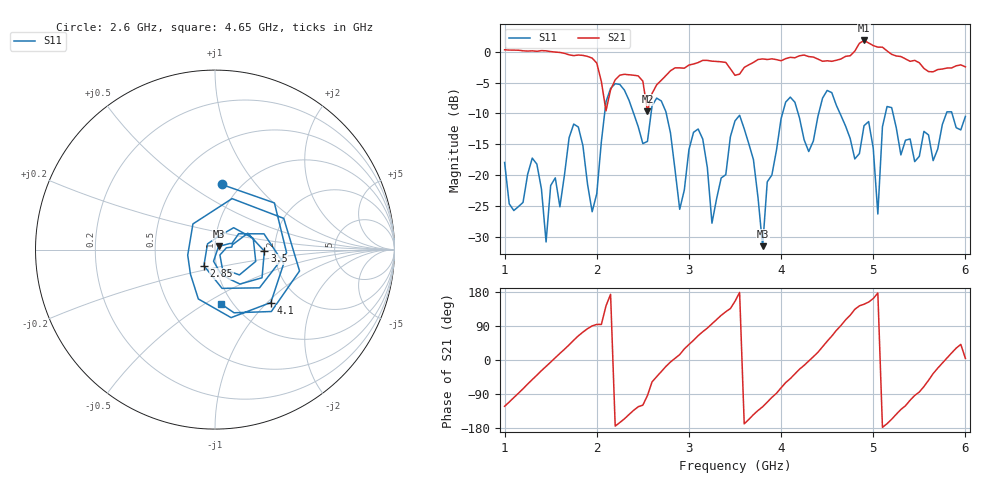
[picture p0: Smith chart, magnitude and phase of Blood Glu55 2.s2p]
! NanoVNA-App
! Date: 2024-03-20 20:21:56
! Start: 1GHz Stop: 6GHz Points: 101
! S-Parameter data: F S11 S21 S12 S22
# Hz S RI R 50
!	Frequency	S11_Real	S11_Imag	S21_Real	S21_Imag	S12_Real	S12_Imag	S22_Real	S22_Imag
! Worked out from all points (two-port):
!   101 points, 1 GHz to 6 GHz, reference 50 ohm
!   highest |S21| = 1.85 dB at 4.9 GHz (marker M1); lowest = -9.6 dB at 2.55 GHz (marker M2)
!   |S21| within 3 dB of the highest: start of sweep to 1.958 GHz; 4.651 GHz to 5.351 GHz (700.2 MHz wide, 14 % of centre)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
!   lowest |S11| = -31.6 dB at 3.8 GHz (marker M3), VSWR 1.05, Z = 52 + j1.82 ohm
!   |S11| at or under -10 dB: start of sweep to 2.085 GHz; 2.754 GHz to 4.016 GHz (1.262 GHz wide, 37.3 % of centre); 5.214 GHz to 5.794 GHz (579.4 MHz wide, 10.5 % of centre)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
!   S12 and S22 are empty: the file has one direction only
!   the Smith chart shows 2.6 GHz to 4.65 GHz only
!   S11 on the Smith chart (normalised r, x): 2.6 GHz: 0.82, +0.69; 2.85 GHz: 0.87, -0.16; 3.5 GHz: 1.76, -0.03; 4.1 GHz: 1.45, -1.05; 4.65 GHz: 0.88, -0.59
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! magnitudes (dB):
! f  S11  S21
! 1 GHz  -18.0  0.3
! 1.35 GHz  -18.2  0.1
! 1.45 GHz  -30.9  0.2
! 1.85 GHz  -15.3  -0.6
! 1.95 GHz  -26.0  -1.0
! 2.15 GHz  -5.9  -6.2
! 2.55 GHz  -14.5  -9.6
! 2.6 GHz  -8.8  -6.8
! 2.7 GHz  -8.0  -4.6
! 2.85 GHz  -19.2  -2.6
! 3.1 GHz  -12.5  -1.7
! 3.25 GHz  -27.8  -1.5
! 3.5 GHz  -11.2  -3.8
! 3.8 GHz  -31.6  -1.1
! 4.1 GHz  -7.4  -0.9
! 4.35 GHz  -14.5  -0.8
! 4.65 GHz  -10.4  -1.2
! 4.9 GHz  -12.0  1.8
! 5.05 GHz  -26.3  0.8
! 5.1 GHz  -12.2  0.8
! 5.2 GHz  -9.1  -0.4
! 6 GHz  -10.5  -2.4
